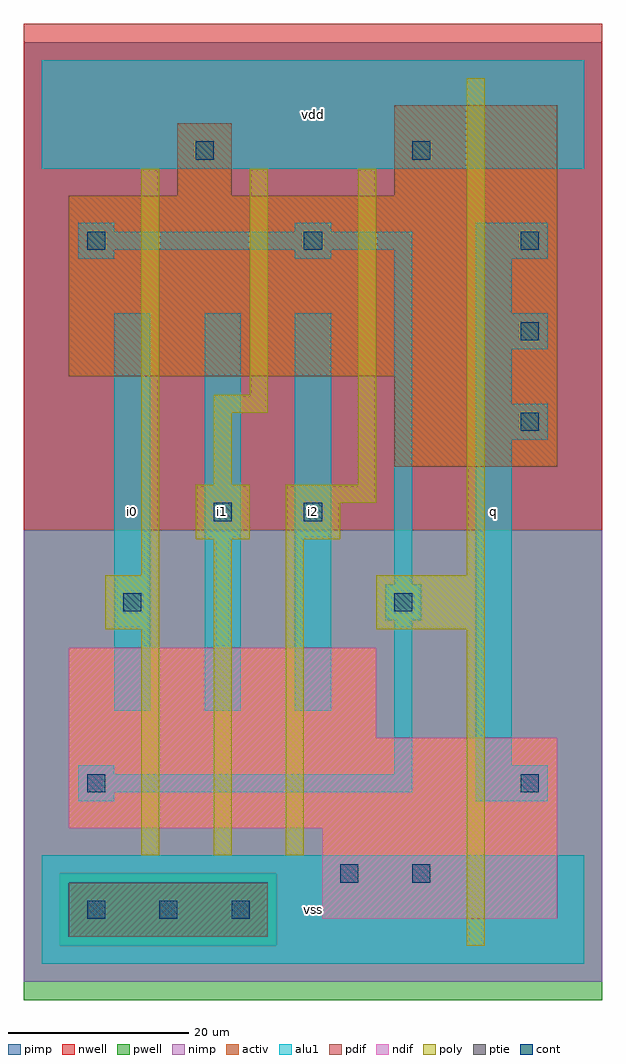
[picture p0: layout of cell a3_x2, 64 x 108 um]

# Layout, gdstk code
import gdstk
lib = gdstk.Library(unit=1e-6, precision=1e-09)
def R(c, l, rs):  # rectangles x0, y0, x1, y1
    for r in rs: c.add(gdstk.rectangle(r[:2], r[2:], *l))
def A(c, l, x, y, w, h, nx, ny, dx, dy):  # array of equal rectangles
    R(c, l, [(x+i*dx, y+j*dy, x+i*dx+w, y+j*dy+h) for i in range(nx) for j in range(ny)])
ndif = (3, 0)
pdif = (4, 0)
ptie = (6, 0)
cont = (25, 0)
pwell = (41, 0)
nwell = (42, 0)
activ = (43, 0)
pimp = (44, 0)
nimp = (45, 0)
poly = (46, 0)
alu1 = (49, 0)

a3_x2 = lib.new_cell('a3_x2')
R(a3_x2, ndif, [(31,5,57,15), (3,15,57,25), (3,25,37,35)])
R(a3_x2, pdif, [(39,55,57,65), (3,65,57,85), (15,85,21,93), (39,85,57,95)])
R(a3_x2, ptie, [(3,3,25,9)])
A(a3_x2, cont, 5, 5, 2, 2, 3, 1, 8, 0)
A(a3_x2, cont, 5, 79, 2, 2, 3, 1, 24, 0)
R(a3_x2, cont, [(33,9,35,11), (41,9,43,11), (5,19,7,21), (53,19,55,21), (9,39,11,41), (39,39,41,41), (19,49,21,51), (29,49,31,51), (53,59,55,61), (53,69,55,71), (17,89,19,91), (41,89,43,91)])
R(a3_x2, pwell, [(-2,-4,62,48)])
R(a3_x2, nwell, [(-2,48,62,104)])
R(a3_x2, activ, [(3,3,25,9), (31,5,57,15), (3,15,57,25), (3,25,37,35), (39,55,57,65), (3,65,57,85), (15,85,21,93), (39,85,57,95)])
R(a3_x2, pimp, [(2,2,26,10), (-2,48,62,102)])
R(a3_x2, nimp, [(-2,-2,62,2), (-2,2,2,10), (26,2,62,10), (-2,10,62,48)])
R(a3_x2, poly, [(47,2,49,37), (11,12,13,37), (19,12,21,47), (27,12,29,47), (7,37,13,43), (37,37,49,43), (11,43,13,88), (47,43,49,98), (17,47,23,53), (27,47,33,51), (27,51,37,53), (19,53,21,61), (35,53,37,88), (19,61,25,63), (23,63,25,88)])
A(a3_x2, alu1, 8, 28, 4, 44, 3, 1, 10, 0)
A(a3_x2, alu1, 48, 58, 8, 4, 1, 3, 0, 10)
R(a3_x2, alu1, [(0,0,60,12), (4,18,8,19), (48,18,56,22), (4,19,41,21), (4,21,8,22), (39,21,41,38), (48,22,52,58), (38,38,42,42), (39,42,41,79), (48,62,52,68), (48,72,52,78), (4,78,8,79), (28,78,32,79), (4,79,41,81), (4,81,8,82), (28,81,32,82), (0,88,60,100)])
a3_x2.add(gdstk.Label('i0', (10,50), layer=49, texttype=0))
a3_x2.add(gdstk.Label('i1', (20,50), layer=49, texttype=0))
a3_x2.add(gdstk.Label('vss', (30,6), layer=49, texttype=0))
a3_x2.add(gdstk.Label('i2', (30,50), layer=49, texttype=0))
a3_x2.add(gdstk.Label('vdd', (30,94), layer=49, texttype=0))
a3_x2.add(gdstk.Label('q', (50,50), layer=49, texttype=0))

lib.write_gds('a3_x2.gds')
